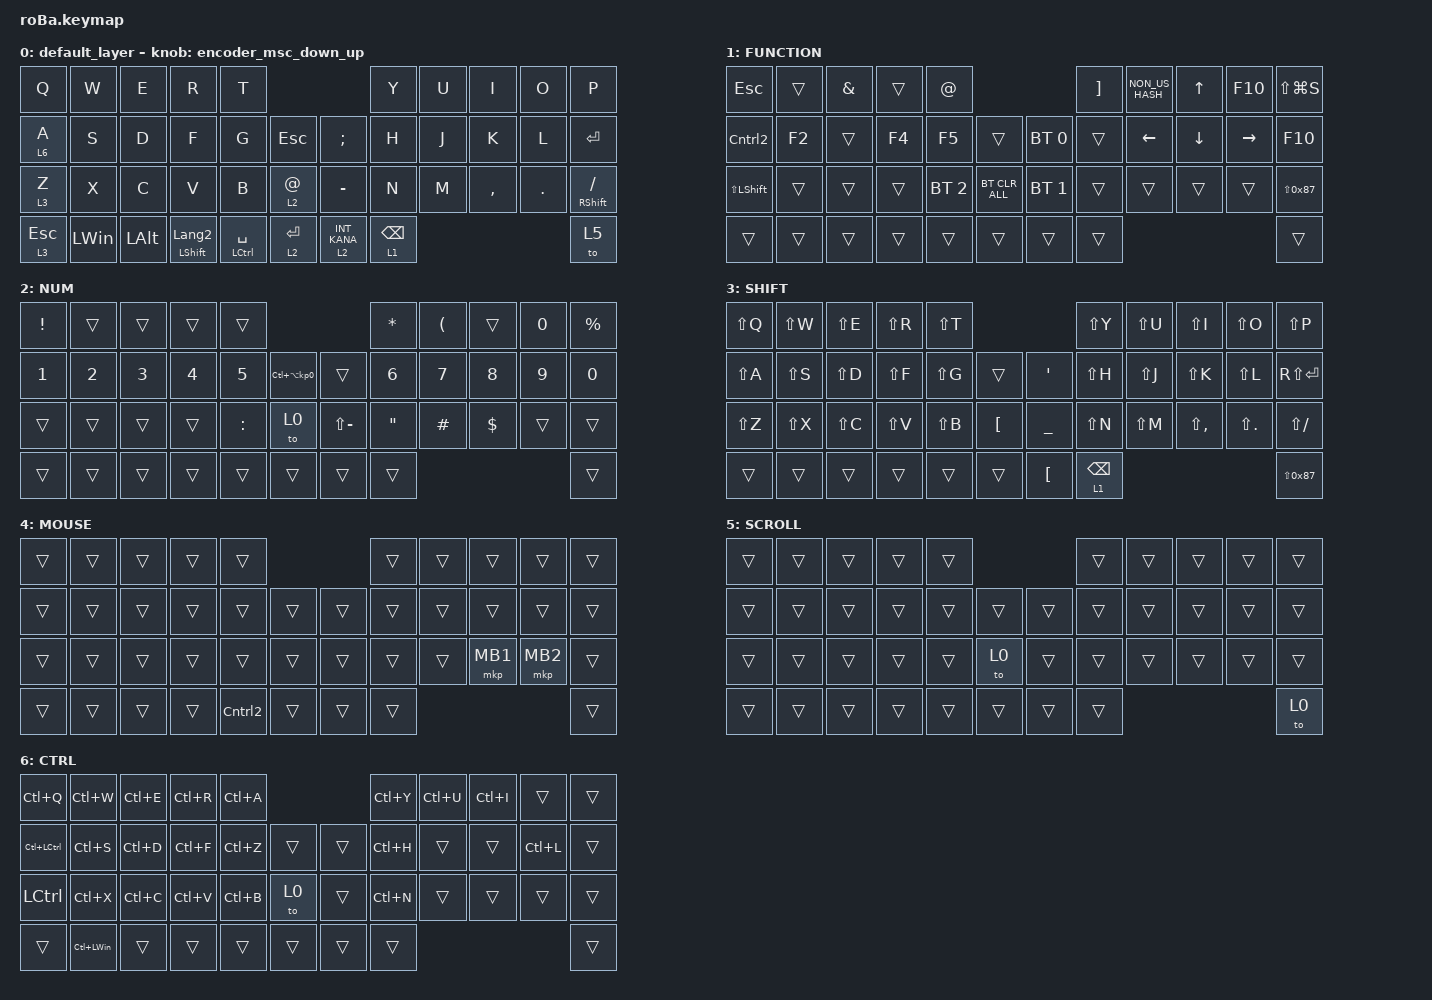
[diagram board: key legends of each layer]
#include <behaviors.dtsi>
#include <dt-bindings/zmk/bt.h>
#include <dt-bindings/zmk/keys.h>
#include <dt-bindings/zmk/pointing.h>

// OS設定を日本語キーボードのまま使用するための変換定義

#define JP_DQUOTE       AT                // "
#define JP_AMPERSAND    CARET             // &
#define JP_QUOTE        AMPERSAND         // '
#define JP_EQUAL        UNDER             // =
#define JP_CARET        EQUAL             // ^
#define JP_YEN          0x89              // ¥
#define JP_PLUS         COLON             // +
#define JP_TILDE        PLUS              // ~
#define JP_PIPE         LS(0x89)          // |
#define JP_AT           LEFT_BRACKET      // @
#define JP_COLON        SINGLE_QUOTE      // :
#define JP_ASTERISK     DOUBLE_QUOTES     // *
#define JP_BACKQUOTE    LEFT_BRACE        // `
#define JP_UNDERSCORE   LS(0x87)          // _
#define JP_LBRACKET     RIGHT_BRACKET     // [
#define JP_RBRACKET     BACKSLASH         // ]
#define JP_LPAREN       ASTERISK          // (
#define JP_RPAREN       LEFT_PARENTHESIS  // )
#define JP_LBRACE       RIGHT_BRACE       // {
#define JP_RBRACE       PIPE              // }
#define JP_KANA         LANGUAGE_1        // かな
#define JP_EISU         LANGUAGE_2        // 英数
#define JP_HANZEN       GRAVE             // 半角/全角

// #includeのあとのあたりにスクロール量変更の定義を追記：マウススクロールの設定をロータリーエンコーダーへ設定。

#define ZMK_POINTING_DEFAULT_SCRL_VAL 80

&mt {
    flavor = "balanced";
    quick-tap-ms = <0>;
};

/ {
    combos {
        compatible = "zmk,combos";

        tab {
            bindings = <&kp TAB>;
            key-positions = <12 13>;
        };

        shift_tab {
            bindings = <&kp LS(TAB)>;
            key-positions = <13 14>;
        };

        eq {
            bindings = <&kp EQUAL>;
            key-positions = <24 25>;
        };

        SHIFT_Z {
            bindings = <&kp LS(Z)>;
            key-positions = <22 23>;
        };
    };

    macros {
        to_layer_0: to_layer_0 {
            compatible = "zmk,behavior-macro-one-param";
            #binding-cells = <1>;
            bindings = <&to 0 &macro_param_1to1 &kp MACRO_PLACEHOLDER>;
            label = "TO_LAYER_0";
        };

        Cntrl2: Cntrl2 {
            compatible = "zmk,behavior-macro";
            #binding-cells = <0>;
            bindings = <&kp LEFT_CONTROL &kp LEFT_CONTROL>;
            label = "CNTRL2";
        };
    };

    //    behaviors {
    //        lt_to_layer_0: lt_to_layer_0 {
    //            compatible = "zmk,behavior-hold-tap";
    //            label = "LAYER_TAP_TO_0";
    //            bindings = <&mo>, <&to_layer_0>;
    //
    //            #binding-cells = <2>;
    //            tapping-term-ms = <200>;
    //        };
    //    };
    // マウススクロールの設定をロータリーエンコーダーへ設定。
    // スクロール方向を逆にしたい場合は <&msc SCRL_DOWN> と <&msc SCRL_UP> を入れ替えてください

    behaviors {
        encoder_msc_down_up: encoder_msc_down_up {
            compatible = "zmk,behavior-sensor-rotate";
            label = "ENCODER_MSC_DOWN_UP";
            #sensor-binding-cells = <0>;
            bindings = <&msc SCRL_DOWN>, <&msc SCRL_UP>;

            tap-ms = <20>;
        };
    };

    keymap {
        compatible = "zmk,keymap";

        default_layer {
            bindings = <
&kp Q         &kp W         &kp E         &kp R                      &kp T                                                      &kp Y            &kp U  &kp I      &kp O    &kp P
&lt 6 A       &kp S         &kp D         &kp F                      &kp G                   &kp ESCAPE         &kp SEMI        &kp H            &kp J  &kp K      &kp L    &kp ENTER
&lt 3 Z       &kp X         &kp C         &kp V                      &kp B                   &lt 2 AT_SIGN      &kp MINUS       &kp N            &kp M  &kp COMMA  &kp DOT  &mt RIGHT_SHIFT SLASH
&lt 3 ESCAPE  &kp LEFT_WIN  &kp LEFT_ALT  &mt LEFT_SHIFT LANGUAGE_2  &mt LEFT_CONTROL SPACE  &lt 2 ENTER        &lt 2 INT_KANA  &lt 1 BACKSPACE                             &to 5
            >;

            // マウススクロールの設定をロータリーエンコーダーへ設定。
            //            sensor-bindings = <&inc_dec_kp PAGE_DOWN PAGE_UP>;

            sensor-bindings = <&encoder_msc_down_up>;
        };

        FUNCTION {
            bindings = <
&kp ESCAPE          &trans  &kp AMPERSAND  &trans  &kp AT                                          &kp RBKT  &kp NON_US_HASH  &kp UP_ARROW  &kp F10    &kp LS(LG(S))
&Cntrl2             &kp F2  &trans         &kp F4  &kp F5        &trans              &bt BT_SEL 0  &trans    &kp LEFT         &kp DOWN      &kp RIGHT  &kp F10
&kp LS(LEFT_SHIFT)  &trans  &trans         &trans  &bt BT_SEL 2  &bt BT_CLR_ALL      &bt BT_SEL 1  &trans    &trans           &trans        &trans     &kp JP_UNDERSCORE
&trans              &trans  &trans         &trans  &trans        &trans              &trans        &trans                                              &trans
            >;
        };

        NUM {
            bindings = <
&kp EXCLAMATION  &trans  &trans  &trans  &trans                                                 &kp ASTERISK       &kp LEFT_PARENTHESIS  &trans      &kp N0  &kp PERCENT
&kp N1           &kp N2  &kp N3  &kp N4  &kp N5     &kp LC(LA(KP_NUMBER_0))      &trans         &kp N6             &kp N7                &kp N8      &kp N9  &kp N0
&trans           &trans  &trans  &trans  &kp COLON  &to 0                        &kp LS(MINUS)  &kp DOUBLE_QUOTES  &kp HASH              &kp DOLLAR  &trans  &trans
&trans           &trans  &trans  &trans  &trans     &trans                       &trans         &trans                                                       &trans
            >;
        };

        SHIFT {
            bindings = <
&kp LS(Q)  &kp LS(W)  &kp LS(E)  &kp LS(R)  &kp LS(T)                                          &kp LS(Y)        &kp LS(U)  &kp LS(I)      &kp LS(O)       &kp LS(P)
&kp LS(A)  &kp LS(S)  &kp LS(D)  &kp LS(F)  &kp LS(G)  &trans                &kp SINGLE_QUOTE  &kp LS(H)        &kp LS(J)  &kp LS(K)      &kp LS(L)       &kp RS(ENTER)
&kp LS(Z)  &kp LS(X)  &kp LS(C)  &kp LS(V)  &kp LS(B)  &kp LEFT_BRACKET      &kp UNDER         &kp LS(N)        &kp LS(M)  &kp LS(COMMA)  &kp LS(PERIOD)  &kp LS(SLASH)
&trans     &trans     &trans     &trans     &trans     &trans                &kp LBKT          &lt 1 BACKSPACE                                            &kp JP_UNDERSCORE
            >;
        };

        MOUSE {
            bindings = <
&trans  &trans  &trans  &trans  &trans                       &trans  &trans  &trans    &trans    &trans
&trans  &trans  &trans  &trans  &trans   &trans      &trans  &trans  &trans  &trans    &trans    &trans
&trans  &trans  &trans  &trans  &trans   &trans      &trans  &trans  &trans  &mkp MB1  &mkp MB2  &trans
&trans  &trans  &trans  &trans  &Cntrl2  &trans      &trans  &trans                              &trans
            >;

            label = "MOUSE";
        };

        SCROLL {
            bindings = <
&trans  &trans  &trans  &trans  &trans                      &trans  &trans  &trans  &trans  &trans
&trans  &trans  &trans  &trans  &trans  &trans      &trans  &trans  &trans  &trans  &trans  &trans
&trans  &trans  &trans  &trans  &trans  &to 0       &trans  &trans  &trans  &trans  &trans  &trans
&trans  &trans  &trans  &trans  &trans  &trans      &trans  &trans                          &to 0
            >;
        };

        CTRL {
            label = "CTRL";
            bindings = <
&kp LC(Q)             &kp LC(W)         &kp LC(E)  &kp LC(R)  &kp LC(A)                      &kp LC(Y)  &kp LC(U)  &kp LC(I)  &trans     &trans
&kp LC(LEFT_CONTROL)  &kp LC(S)         &kp LC(D)  &kp LC(F)  &kp LC(Z)  &trans      &trans  &kp LC(H)  &trans     &trans     &kp LC(L)  &trans
&kp LEFT_CONTROL      &kp LC(X)         &kp LC(C)  &kp LC(V)  &kp LC(B)  &to 0       &trans  &kp LC(N)  &trans     &trans     &trans     &trans
&trans                &kp LC(LEFT_WIN)  &trans     &trans     &trans     &trans      &trans  &trans                                      &trans
            >;
        };
    };
};
